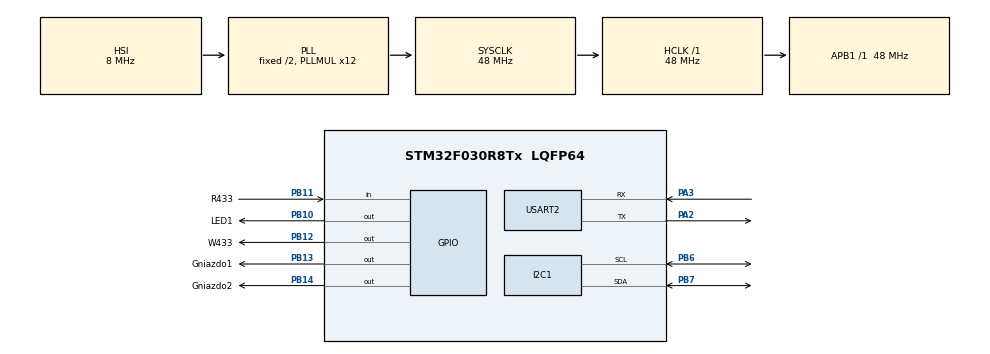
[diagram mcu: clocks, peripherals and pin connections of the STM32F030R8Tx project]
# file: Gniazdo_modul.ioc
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Mcu.Family=STM32F0
Mcu.Name=STM32F030R8Tx
Mcu.Package=LQFP64
NVIC.TIM17_IRQn=true\:0\:0\:false\:false\:true\:true
PA13.Mode=Serial_Wire
PA13.Signal=SYS_SWDIO
PA14.Mode=Serial_Wire
PA14.Signal=SYS_SWCLK
PA2.Mode=Asynchronous
PA2.Signal=USART2_TX
PA3.Mode=Asynchronous
PA3.Signal=USART2_RX
PB10.GPIO_Label=LED1
PB10.Signal=GPIO_Output
PB11.GPIO_Label=R433
PB11.Signal=GPIO_Input
PB12.GPIO_Label=W433
PB12.Signal=GPIO_Output
PB13.GPIO_Label=Gniazdo1
PB13.Signal=GPIO_Output
PB14.GPIO_Label=Gniazdo2
PB14.Signal=GPIO_Output
PB6.Mode=I2C
PB6.Signal=I2C1_SCL
PB7.Mode=I2C
PB7.Signal=I2C1_SDA
ProjectManager.HeapSize=0x200
ProjectManager.StackSize=0x400
ProjectManager.TargetToolchain=TrueSTUDIO
RCC.AHBFreq_Value=48000000
RCC.APB1Freq_Value=48000000
RCC.APB1TimFreq_Value=48000000
RCC.HCLKFreq_Value=48000000
RCC.PLLMUL=RCC_PLL_MUL12
RCC.SYSCLKFreq_VALUE=48000000
RCC.SYSCLKSource=RCC_SYSCLKSOURCE_PLLCLK
TIM17.Period=36
TIM17.Prescaler=130
USART2.VirtualMode-Asynchronous=VM_ASYNC
VP_TIM17_VS_ClockSourceINT.Mode=Enable_Timer
board=Gniazdo_modul

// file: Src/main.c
/**
 ******************************************************************************
 * @file           : main.c
 * @brief          : Main program body
 ******************************************************************************
 ** This notice applies to any and all portions of this file
 * that are not between comment pairs USER CODE BEGIN and
 * USER CODE END. Other portions of this file, whether
 * inserted by the user or by software development tools
 * are owned by their respective copyright owners.
 *
 * COPYRIGHT(c) 2018 STMicroelectronics
 *
 * Redistribution and use in source and binary forms, with or without modification,
 * are permitted provided that the following conditions are met:
 *   1. Redistributions of source code must retain the above copyright notice,
 *      this list of conditions and the following disclaimer.
 *   2. Redistributions in binary form must reproduce the above copyright notice,
 *      this list of conditions and the following disclaimer in the documentation
 *      and/or other materials provided with the distribution.
 *   3. Neither the name of STMicroelectronics nor the names of its contributors
 *      may be used to endorse or promote products derived from this software
 *      without specific prior written permission.
 *
 * THIS SOFTWARE IS PROVIDED BY THE COPYRIGHT HOLDERS AND CONTRIBUTORS "AS IS"
 * AND ANY EXPRESS OR IMPLIED WARRANTIES, INCLUDING, BUT NOT LIMITED TO, THE
 * IMPLIED WARRANTIES OF MERCHANTABILITY AND FITNESS FOR A PARTICULAR PURPOSE ARE
 * DISCLAIMED. IN NO EVENT SHALL THE COPYRIGHT HOLDER OR CONTRIBUTORS BE LIABLE
 * FOR ANY DIRECT, INDIRECT, INCIDENTAL, SPECIAL, EXEMPLARY, OR CONSEQUENTIAL
 * DAMAGES (INCLUDING, BUT NOT LIMITED TO, PROCUREMENT OF SUBSTITUTE GOODS OR
 * SERVICES; LOSS OF USE, DATA, OR PROFITS; OR BUSINESS INTERRUPTION) HOWEVER
 * CAUSED AND ON ANY THEORY OF LIABILITY, WHETHER IN CONTRACT, STRICT LIABILITY,
 * OR TORT (INCLUDING NEGLIGENCE OR OTHERWISE) ARISING IN ANY WAY OUT OF THE USE
 * OF THIS SOFTWARE, EVEN IF ADVISED OF THE POSSIBILITY OF SUCH DAMAGE.
 *
 ******************************************************************************
 */
#include "main.h"
#include "stm32f0xx_hal.h"
#include "i2c.h"
#include "tim.h"
#include "usart.h"
#include "gpio.h"

/* USER CODE BEGIN Includes */
//#include "swiatlo.h"
#include "Radio_433.h"

#define ADRESS 0x40
#define IODIR 0x00
#define GPIO 0x09
/* USER CODE END Includes */

/* USER CODE BEGIN PV */
/* Private variables ---------------------------------------------------------*/
volatile int Duty = 0;

/* USER CODE END PV */

void SystemClock_Config(void);

/* USER CODE BEGIN PFP */
/* Private function prototypes -----------------------------------------------*/

/* USER CODE END PFP */

/* USER CODE BEGIN 0 */

void HAL_GPIO_EXTI_Callback(uint16_t GPIO_Pin) {

}

void HAL_TIM_PeriodElapsedCallback(TIM_HandleTypeDef *htim) {
	//if (htim == &htim7) {
	//obsluga_jasnosci();

	//}
	if (htim == &htim17) {
		podstawa_czasowa_kominikacji();
		//obsluga_nadawania();
	}
	//if (htim == &htim17) {
	//}
}
void HAL_SYSTICK_Callback(void) {

}
/* USER CODE END 0 */

int main(void) {

	/* MCU Configuration----------------------------------------------------------*/

	/* Reset of all peripherals, Initializes the Flash interface and the Systick. */
	HAL_Init();

	/* Configure the system clock */
	SystemClock_Config();

	/* Initialize all configured peripherals */
	MX_GPIO_Init();
	MX_I2C1_Init();
	MX_USART2_UART_Init();
	MX_TIM17_Init();
	/* USER CODE BEGIN 2 */
	//HAL_TIM_Base_Start_IT(&htim7);
	HAL_TIM_Base_Start_IT(&htim17);
	//HAL_TIM_Base_Start_IT(&htim17);

	//HAL_TIM_PWM_Start(&htim1, TIM_CHANNEL_2); // Uruchamia generowanie PWM przez timer 4 na kanale 3
	/* USER CODE END 2 */

	/* Infinite loop */
	/* USER CODE BEGIN WHILE */

	//ekspander
	uint8_t wyjscia = 0xFC; //1111 1100 - GP0 jako wyjscie, GP1-GP6 jako wejscie
	uint8_t wartosc = 0x01;  //0000 0001 GP0 stan HIGH reszta LOW

	HAL_I2C_Mem_Write(&hi2c1, ADRESS, IODIR, 1, &wyjscia, 1, 10);

	//swiatlo = 0;
	int tmp = 1;
	int dana = 0;
	int numer = 0;
	while (1) {
		if (flaga_odbierania == 2) {
			if (odebrano[0] == 48 && odebrano[1] == 100) {
				HAL_GPIO_WritePin(LED1_GPIO_Port, LED1_Pin, 1);
				HAL_GPIO_WritePin(Gniazdo1_GPIO_Port, Gniazdo1_Pin, 0);
				for (dana = 0; dana < 100000; dana++) {
					HAL_GPIO_TogglePin(LED1_GPIO_Port, LED1_Pin);
				}
				nadaj_433(200, 220);
			}
			if (odebrano[0] == 48 && odebrano[1] == 101) {
				HAL_GPIO_WritePin(LED1_GPIO_Port, LED1_Pin, 1);
				HAL_GPIO_WritePin(Gniazdo1_GPIO_Port, Gniazdo1_Pin, 1);
				for (dana = 0; dana < 100000; dana++) {
					HAL_GPIO_TogglePin(LED1_GPIO_Port, LED1_Pin);
				}
				nadaj_433(200, 221);
			}
			if (odebrano[0] == 48 && odebrano[1] == 102) {
				HAL_GPIO_WritePin(Gniazdo2_GPIO_Port, Gniazdo2_Pin, 0);
				for (dana = 0; dana < 100000; dana++) {
					HAL_GPIO_TogglePin(LED1_GPIO_Port, LED1_Pin);
				}
				nadaj_433(200, 222);
			}
			if (odebrano[0] == 48 && odebrano[1] == 103) {
				HAL_GPIO_WritePin(Gniazdo2_GPIO_Port, Gniazdo2_Pin, 1);
				for (dana = 0; dana < 100000; dana++) {
					HAL_GPIO_TogglePin(LED1_GPIO_Port, LED1_Pin);
				}
				nadaj_433(200, 223);
			}
			if (odebrano[0] == 60) {
				HAL_I2C_Mem_Write(&hi2c1, ADRESS, GPIO, 1, &odebrano[1], 1, 10);
				for (dana = 0; dana < 100000; dana++) {
					HAL_GPIO_TogglePin(LED1_GPIO_Port, LED1_Pin);
				}
				nadaj_433(160, odebrano[1]);
			}
			odebrano[0] = 0;
			odebrano[1] = 0;
			flaga_odbierania = 1;
			tryb_odbierania = 0;
		}

		tmp++;
		if (tmp == 400000) {
			tmp = 0;
			numer++;
			//nadaj_433(122,212);
			//HAL_GPIO_TogglePin(LED1_GPIO_Port,LED1_Pin);

		}
		//flaga_nadawania = 2;
		/*
		 if (numer >= 1000 && tlo_nadawania == 3 && flaga_nadawania == 0) {
		 flaga_nadawania = 1;
		 numer = 0;
		 nr_bitu = 0;
		 kwant_bitu = 0;
		 nadaj[0] = nadaj[0] + 1;
		 nadaj[1] = nadaj[1] - 1;

		 //nr_bitu_odbieranie=0;
		 //HAL_GPIO_TogglePin(LED2_GPIO_Port, LED2_Pin);

		 }*/

		/* USER CODE END WHILE */

	}

}

void SystemClock_Config(void) {

	RCC_OscInitTypeDef RCC_OscInitStruct;
	RCC_ClkInitTypeDef RCC_ClkInitStruct;
	RCC_PeriphCLKInitTypeDef PeriphClkInit;

	/**Initializes the CPU, AHB and APB busses clocks
	 */
	RCC_OscInitStruct.OscillatorType = RCC_OSCILLATORTYPE_HSI;
	RCC_OscInitStruct.HSIState = RCC_HSI_ON;
	RCC_OscInitStruct.HSICalibrationValue = 16;
	RCC_OscInitStruct.PLL.PLLState = RCC_PLL_ON;
	RCC_OscInitStruct.PLL.PLLSource = RCC_PLLSOURCE_HSI;
	RCC_OscInitStruct.PLL.PLLMUL = RCC_PLL_MUL12;
	RCC_OscInitStruct.PLL.PREDIV = RCC_PREDIV_DIV1;
	if (HAL_RCC_OscConfig(&RCC_OscInitStruct) != HAL_OK) {
		_Error_Handler(__FILE__, __LINE__);
	}

	/**Initializes the CPU, AHB and APB busses clocks
	 */
	RCC_ClkInitStruct.ClockType = RCC_CLOCKTYPE_HCLK | RCC_CLOCKTYPE_SYSCLK
			| RCC_CLOCKTYPE_PCLK1;
	RCC_ClkInitStruct.SYSCLKSource = RCC_SYSCLKSOURCE_PLLCLK;
	RCC_ClkInitStruct.AHBCLKDivider = RCC_SYSCLK_DIV1;
	RCC_ClkInitStruct.APB1CLKDivider = RCC_HCLK_DIV1;

	if (HAL_RCC_ClockConfig(&RCC_ClkInitStruct, FLASH_LATENCY_1) != HAL_OK) {
		_Error_Handler(__FILE__, __LINE__);
	}

	PeriphClkInit.PeriphClockSelection = RCC_PERIPHCLK_I2C1;
	PeriphClkInit.I2c1ClockSelection = RCC_I2C1CLKSOURCE_HSI;
	if (HAL_RCCEx_PeriphCLKConfig(&PeriphClkInit) != HAL_OK) {
		_Error_Handler(__FILE__, __LINE__);
	}

	/**Configure the Systick interrupt time
	 */
	HAL_SYSTICK_Config(HAL_RCC_GetHCLKFreq() / 1000);

	/**Configure the Systick
	 */
	HAL_SYSTICK_CLKSourceConfig(SYSTICK_CLKSOURCE_HCLK);

	/* SysTick_IRQn interrupt configuration */
	HAL_NVIC_SetPriority(SysTick_IRQn, 0, 0);
}

void _Error_Handler(char *file, int line) {
	while (1) {
	}
}

/************************ (C) COPYRIGHT STMicroelectronics *****END OF FILE****/
